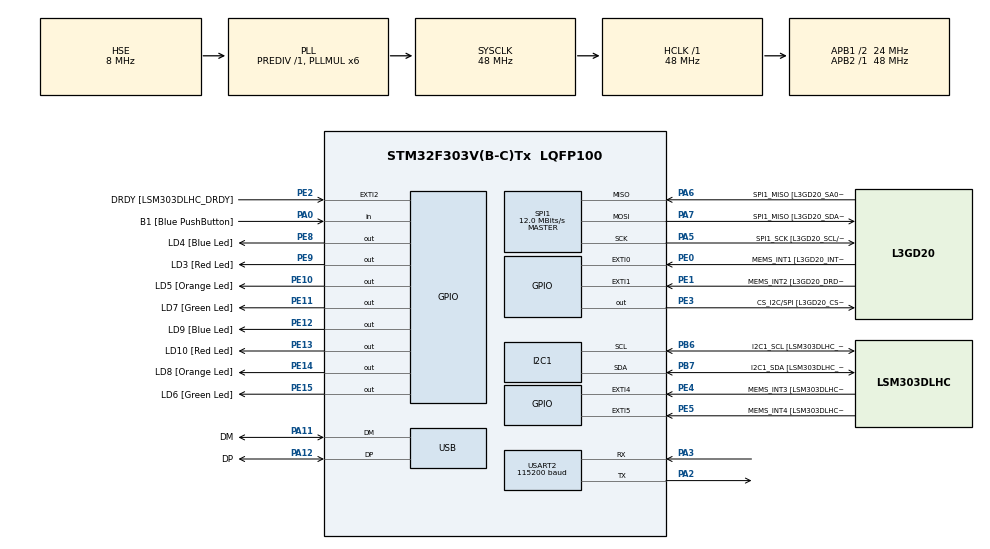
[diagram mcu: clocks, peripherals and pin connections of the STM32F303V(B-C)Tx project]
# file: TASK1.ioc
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I2C1.Timing=0x2000090E
I2C1.Timing-I2C=0x2000090E
Mcu.Family=STM32F3
Mcu.Name=STM32F303V(B-C)Tx
Mcu.Package=LQFP100
NVIC.PriorityGroup=NVIC_PRIORITYGROUP_0
PA0.GPIO_Label=B1 [Blue PushButton]
PA0.Signal=GPIO_Input
PA11.GPIO_Label=DM
PA11.Mode=Device
PA11.Signal=USB_DM
PA12.GPIO_Label=DP
PA12.Mode=Device
PA12.Signal=USB_DP
PA13.GPIO_Label=SWDIO
PA13.Mode=Serial_Wire
PA13.Signal=SYS_JTMS-SWDIO
PA14.GPIO_Label=SWCLK
PA14.Mode=Serial_Wire
PA14.Signal=SYS_JTCK-SWCLK
PA2.Mode=Asynchronous
PA2.Signal=USART2_TX
PA3.Mode=Asynchronous
PA3.Signal=USART2_RX
PA5.GPIO_Label=SPI1_SCK [L3GD20_SCL/SPC]
PA5.Mode=Full_Duplex_Master
PA5.Signal=SPI1_SCK
PA6.GPIO_Label=SPI1_MISO [L3GD20_SA0/SDO]
PA6.Mode=Full_Duplex_Master
PA6.Signal=SPI1_MISO
PA7.GPIO_Label=SPI1_MISO [L3GD20_SDA/SDI/SDO]
PA7.Mode=Full_Duplex_Master
PA7.Signal=SPI1_MOSI
PB3.GPIO_Label=SWO
PB3.Signal=SYS_JTDO-TRACESWO
PB6.GPIO_Label=I2C1_SCL [LSM303DLHC_SCL]
PB6.GPIO_Pu=GPIO_PULLUP
PB6.Mode=I2C
PB6.Signal=I2C1_SCL
PB7.GPIO_Label=I2C1_SDA [LSM303DLHC_SDA]
PB7.GPIO_Pu=GPIO_PULLUP
PB7.Mode=I2C
PB7.Signal=I2C1_SDA
PC14-OSC32_IN.GPIO_Label=OSC32_IN
PC14-OSC32_IN.Signal=RCC_OSC32_IN
PC15-OSC32_OUT.GPIO_Label=OSC32_OUT
PC15-OSC32_OUT.Signal=RCC_OSC32_OUT
PE0.GPIO_Label=MEMS_INT1 [L3GD20_INT1]
PE0.GPIO_ModeDefaultEXTI=GPIO_MODE_EVT_RISING
PE0.Signal=GPXTI0
PE1.GPIO_Label=MEMS_INT2 [L3GD20_DRDY/INT2]
PE1.GPIO_ModeDefaultEXTI=GPIO_MODE_EVT_RISING
PE1.Signal=GPXTI1
PE10.GPIO_Label=LD5 [Orange Led]
PE10.Signal=GPIO_Output
PE11.GPIO_Label=LD7 [Green Led]
PE11.Signal=GPIO_Output
PE12.GPIO_Label=LD9 [Blue Led]
PE12.Signal=GPIO_Output
PE13.GPIO_Label=LD10 [Red Led]
PE13.Signal=GPIO_Output
PE14.GPIO_Label=LD8 [Orange Led]
PE14.Signal=GPIO_Output
PE15.GPIO_Label=LD6 [Green Led]
PE15.Signal=GPIO_Output
PE2.GPIO_Label=DRDY [LSM303DLHC_DRDY]
PE2.GPIO_ModeDefaultEXTI=GPIO_MODE_EVT_RISING
PE2.Signal=GPXTI2
PE3.GPIO_Label=CS_I2C/SPI [L3GD20_CS_I2C/SPI]
PE3.Signal=GPIO_Output
PE4.GPIO_Label=MEMS_INT3 [LSM303DLHC_INT1]
PE4.GPIO_ModeDefaultEXTI=GPIO_MODE_EVT_RISING
PE4.Signal=GPXTI4
PE5.GPIO_Label=MEMS_INT4 [LSM303DLHC_INT2]
PE5.GPIO_ModeDefaultEXTI=GPIO_MODE_EVT_RISING
PE5.Signal=GPXTI5
PE8.GPIO_Label=LD4 [Blue Led]
PE8.Signal=GPIO_Output
PE9.GPIO_Label=LD3 [Red Led]
PE9.Signal=GPIO_Output
PF0-OSC_IN.GPIO_Label=OSC_IN
PF0-OSC_IN.Mode=HSE-External-Clock-Source
PF0-OSC_IN.Signal=RCC_OSC_IN
PF1-OSC_OUT.GPIO_Label=OSC_OUT
PF1-OSC_OUT.Signal=RCC_OSC_OUT
ProjectManager.HeapSize=0x200
ProjectManager.StackSize=0x400
ProjectManager.TargetToolchain=CMake
RCC.AHBFreq_Value=48000000
RCC.APB1CLKDivider=RCC_HCLK_DIV2
RCC.APB1Freq_Value=24000000
RCC.APB1TimFreq_Value=48000000
RCC.APB2Freq_Value=48000000
RCC.APB2TimFreq_Value=48000000
RCC.CortexFreq_Value=48000000
RCC.HCLKFreq_Value=48000000
RCC.HSE_VALUE=8000000
RCC.HSI_VALUE=8000000
RCC.LSE_VALUE=32768
RCC.PLLMUL=RCC_PLL_MUL6
RCC.SYSCLKFreq_VALUE=48000000
RCC.SYSCLKSourceVirtual=RCC_SYSCLKSOURCE_PLLCLK
RCC.USBFreq_Value=48000000
SPI1.BaudRatePrescaler=SPI_BAUDRATEPRESCALER_4
SPI1.BaudRatePrescaler-Full_Duplex_Master=SPI_BAUDRATEPRESCALER_2
SPI1.CLKPhase=SPI_PHASE_2EDGE
SPI1.CLKPolarity=SPI_POLARITY_HIGH
SPI1.CalculateBaudRate=12.0 MBits/s
SPI1.CalculateBaudRate-Full_Duplex_Master=24.0 MBits/s
SPI1.DataSize=SPI_DATASIZE_8BIT
SPI1.Direction=SPI_DIRECTION_2LINES
SPI1.Mode=SPI_MODE_MASTER
SPI1.Mode-Full_Duplex_Master=SPI_MODE_MASTER
SPI1.VirtualType=VM_MASTER
USART2.BaudRate=115200
USART2.VirtualMode-Asynchronous=VM_ASYNC
board=STM32F3DISCOVERY

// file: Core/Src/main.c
/* USER CODE BEGIN Header */
/**
  ******************************************************************************
  * @file           : main.c
  * @brief          : Main program body
  ******************************************************************************
  * @attention
  *
  * Copyright (c) 2025 STMicroelectronics.
  * All rights reserved.
  *
  * This software is licensed under terms that can be found in the LICENSE file
  * in the root directory of this software component.
  * If no LICENSE file comes with this software, it is provided AS-IS.
  *
  ******************************************************************************
  */
/* USER CODE END Header */
#include "main.h"
#include <stdio.h>
#include <string.h>
#include <stdarg.h>

I2C_HandleTypeDef hi2c1;

SPI_HandleTypeDef hspi1;

UART_HandleTypeDef huart2;

PCD_HandleTypeDef hpcd_USB_FS;

void SystemClock_Config(void);
static void MX_GPIO_Init(void);
static void MX_I2C1_Init(void);
static void MX_SPI1_Init(void);
static void MX_USART2_UART_Init(void);
static void MX_USB_PCD_Init(void);

/* USER CODE BEGIN 0 */

#define WHO_AM_I_REG   0x0F
#define CS_LOW()       HAL_GPIO_WritePin(GPIOE, GPIO_PIN_3, GPIO_PIN_RESET)
#define CS_HIGH()      HAL_GPIO_WritePin(GPIOE, GPIO_PIN_3, GPIO_PIN_SET)

uint8_t who_am_i = 0;
uint8_t cmd = 0x80 | WHO_AM_I_REG;  // Read command = 0x8F

void print(const char *fmt, ...)
{
  char buffer[128];
  va_list args;
  va_start(args, fmt);
  vsnprintf(buffer, sizeof(buffer), fmt, args);
  va_end(args);
  HAL_UART_Transmit(&huart2, (uint8_t *)buffer, strlen(buffer), HAL_MAX_DELAY);
}

void Read_WHO_AM_I(void)
{
    CS_LOW();
    HAL_SPI_Transmit(&hspi1, &cmd, 1, HAL_MAX_DELAY);
    HAL_SPI_Receive(&hspi1, &who_am_i, 1, HAL_MAX_DELAY);
    CS_HIGH();

    print("WHO_AM_I register value: 0x%02X\r\n", who_am_i);

    if (who_am_i == 0xD4)
        print("I3G4250D detected successfully!\r\n");
    else
        print("Communication error. Received: 0x%02X\r\n", who_am_i);
}
/* USER CODE END 0 */

int main(void)
{

  /* MCU Configuration--------------------------------------------------------*/

  /* Reset of all peripherals, Initializes the Flash interface and the Systick. */
  HAL_Init();

  /* Configure the system clock */
  SystemClock_Config();

  /* Initialize all configured peripherals */
  MX_GPIO_Init();
  MX_I2C1_Init();
  MX_SPI1_Init();
  MX_USART2_UART_Init();
  MX_USB_PCD_Init();

  /* Infinite loop */
  /* USER CODE BEGIN WHILE */
  print("Starting WHO_AM_I read...\r\n");

    while (1)
    {
        HAL_Delay(1000);
        Read_WHO_AM_I();
    }
  /* USER CODE END 3 */
}

void SystemClock_Config(void)
{
  RCC_OscInitTypeDef RCC_OscInitStruct = {0};
  RCC_ClkInitTypeDef RCC_ClkInitStruct = {0};
  RCC_PeriphCLKInitTypeDef PeriphClkInit = {0};

  /** Initializes the RCC Oscillators according to the specified parameters
  * in the RCC_OscInitTypeDef structure.
  */
  RCC_OscInitStruct.OscillatorType = RCC_OSCILLATORTYPE_HSI|RCC_OSCILLATORTYPE_HSE;
  RCC_OscInitStruct.HSEState = RCC_HSE_BYPASS;
  RCC_OscInitStruct.HSEPredivValue = RCC_HSE_PREDIV_DIV1;
  RCC_OscInitStruct.HSIState = RCC_HSI_ON;
  RCC_OscInitStruct.HSICalibrationValue = RCC_HSICALIBRATION_DEFAULT;
  RCC_OscInitStruct.PLL.PLLState = RCC_PLL_ON;
  RCC_OscInitStruct.PLL.PLLSource = RCC_PLLSOURCE_HSE;
  RCC_OscInitStruct.PLL.PLLMUL = RCC_PLL_MUL6;
  if (HAL_RCC_OscConfig(&RCC_OscInitStruct) != HAL_OK)
  {
    Error_Handler();
  }

  /** Initializes the CPU, AHB and APB buses clocks
  */
  RCC_ClkInitStruct.ClockType = RCC_CLOCKTYPE_HCLK|RCC_CLOCKTYPE_SYSCLK
                              |RCC_CLOCKTYPE_PCLK1|RCC_CLOCKTYPE_PCLK2;
  RCC_ClkInitStruct.SYSCLKSource = RCC_SYSCLKSOURCE_PLLCLK;
  RCC_ClkInitStruct.AHBCLKDivider = RCC_SYSCLK_DIV1;
  RCC_ClkInitStruct.APB1CLKDivider = RCC_HCLK_DIV2;
  RCC_ClkInitStruct.APB2CLKDivider = RCC_HCLK_DIV1;

  if (HAL_RCC_ClockConfig(&RCC_ClkInitStruct, FLASH_LATENCY_1) != HAL_OK)
  {
    Error_Handler();
  }
  PeriphClkInit.PeriphClockSelection = RCC_PERIPHCLK_USB|RCC_PERIPHCLK_USART2
                              |RCC_PERIPHCLK_I2C1;
  PeriphClkInit.Usart2ClockSelection = RCC_USART2CLKSOURCE_PCLK1;
  PeriphClkInit.I2c1ClockSelection = RCC_I2C1CLKSOURCE_HSI;
  PeriphClkInit.USBClockSelection = RCC_USBCLKSOURCE_PLL;
  if (HAL_RCCEx_PeriphCLKConfig(&PeriphClkInit) != HAL_OK)
  {
    Error_Handler();
  }
}

static void MX_I2C1_Init(void)
{

  hi2c1.Instance = I2C1;
  hi2c1.Init.Timing = 0x2000090E;
  hi2c1.Init.OwnAddress1 = 0;
  hi2c1.Init.AddressingMode = I2C_ADDRESSINGMODE_7BIT;
  hi2c1.Init.DualAddressMode = I2C_DUALADDRESS_DISABLE;
  hi2c1.Init.OwnAddress2 = 0;
  hi2c1.Init.OwnAddress2Masks = I2C_OA2_NOMASK;
  hi2c1.Init.GeneralCallMode = I2C_GENERALCALL_DISABLE;
  hi2c1.Init.NoStretchMode = I2C_NOSTRETCH_DISABLE;
  if (HAL_I2C_Init(&hi2c1) != HAL_OK)
  {
    Error_Handler();
  }

  /** Configure Analogue filter
  */
  if (HAL_I2CEx_ConfigAnalogFilter(&hi2c1, I2C_ANALOGFILTER_ENABLE) != HAL_OK)
  {
    Error_Handler();
  }

  /** Configure Digital filter
  */
  if (HAL_I2CEx_ConfigDigitalFilter(&hi2c1, 0) != HAL_OK)
  {
    Error_Handler();
  }

}

static void MX_SPI1_Init(void)
{

  /* SPI1 parameter configuration*/
  hspi1.Instance = SPI1;
  hspi1.Init.Mode = SPI_MODE_MASTER;
  hspi1.Init.Direction = SPI_DIRECTION_2LINES;
  hspi1.Init.DataSize = SPI_DATASIZE_8BIT;
  hspi1.Init.CLKPolarity = SPI_POLARITY_HIGH;
  hspi1.Init.CLKPhase = SPI_PHASE_2EDGE;
  hspi1.Init.NSS = SPI_NSS_SOFT;
  hspi1.Init.BaudRatePrescaler = SPI_BAUDRATEPRESCALER_4;
  hspi1.Init.FirstBit = SPI_FIRSTBIT_MSB;
  hspi1.Init.TIMode = SPI_TIMODE_DISABLE;
  hspi1.Init.CRCCalculation = SPI_CRCCALCULATION_DISABLE;
  hspi1.Init.CRCPolynomial = 7;
  hspi1.Init.CRCLength = SPI_CRC_LENGTH_DATASIZE;
  hspi1.Init.NSSPMode = SPI_NSS_PULSE_DISABLE;
  if (HAL_SPI_Init(&hspi1) != HAL_OK)
  {
    Error_Handler();
  }

}

static void MX_USART2_UART_Init(void)
{

  huart2.Instance = USART2;
  huart2.Init.BaudRate = 115200;
  huart2.Init.WordLength = UART_WORDLENGTH_8B;
  huart2.Init.StopBits = UART_STOPBITS_1;
  huart2.Init.Parity = UART_PARITY_NONE;
  huart2.Init.Mode = UART_MODE_TX_RX;
  huart2.Init.HwFlowCtl = UART_HWCONTROL_NONE;
  huart2.Init.OverSampling = UART_OVERSAMPLING_16;
  huart2.Init.OneBitSampling = UART_ONE_BIT_SAMPLE_DISABLE;
  huart2.AdvancedInit.AdvFeatureInit = UART_ADVFEATURE_NO_INIT;
  if (HAL_UART_Init(&huart2) != HAL_OK)
  {
    Error_Handler();
  }

}

static void MX_USB_PCD_Init(void)
{

  hpcd_USB_FS.Instance = USB;
  hpcd_USB_FS.Init.dev_endpoints = 8;
  hpcd_USB_FS.Init.speed = PCD_SPEED_FULL;
  hpcd_USB_FS.Init.phy_itface = PCD_PHY_EMBEDDED;
  hpcd_USB_FS.Init.low_power_enable = DISABLE;
  hpcd_USB_FS.Init.battery_charging_enable = DISABLE;
  if (HAL_PCD_Init(&hpcd_USB_FS) != HAL_OK)
  {
    Error_Handler();
  }

}

static void MX_GPIO_Init(void)
{
  GPIO_InitTypeDef GPIO_InitStruct = {0};

  /* GPIO Ports Clock Enable */
  __HAL_RCC_GPIOE_CLK_ENABLE();
  __HAL_RCC_GPIOC_CLK_ENABLE();
  __HAL_RCC_GPIOF_CLK_ENABLE();
  __HAL_RCC_GPIOA_CLK_ENABLE();
  __HAL_RCC_GPIOB_CLK_ENABLE();

  /*Configure GPIO pin Output Level */
  HAL_GPIO_WritePin(GPIOE, CS_I2C_SPI_Pin|LD4_Pin|LD3_Pin|LD5_Pin
                          |LD7_Pin|LD9_Pin|LD10_Pin|LD8_Pin
                          |LD6_Pin, GPIO_PIN_RESET);

  /*Configure GPIO pins : DRDY_Pin MEMS_INT3_Pin MEMS_INT4_Pin MEMS_INT1_Pin
                           MEMS_INT2_Pin */
  GPIO_InitStruct.Pin = DRDY_Pin|MEMS_INT3_Pin|MEMS_INT4_Pin|MEMS_INT1_Pin
                          |MEMS_INT2_Pin;
  GPIO_InitStruct.Mode = GPIO_MODE_EVT_RISING;
  GPIO_InitStruct.Pull = GPIO_NOPULL;
  HAL_GPIO_Init(GPIOE, &GPIO_InitStruct);

  /*Configure GPIO pins : CS_I2C_SPI_Pin LD4_Pin LD3_Pin LD5_Pin
                           LD7_Pin LD9_Pin LD10_Pin LD8_Pin
                           LD6_Pin */
  GPIO_InitStruct.Pin = CS_I2C_SPI_Pin|LD4_Pin|LD3_Pin|LD5_Pin
                          |LD7_Pin|LD9_Pin|LD10_Pin|LD8_Pin
                          |LD6_Pin;
  GPIO_InitStruct.Mode = GPIO_MODE_OUTPUT_PP;
  GPIO_InitStruct.Pull = GPIO_NOPULL;
  GPIO_InitStruct.Speed = GPIO_SPEED_FREQ_LOW;
  HAL_GPIO_Init(GPIOE, &GPIO_InitStruct);

  /*Configure GPIO pin : B1_Pin */
  GPIO_InitStruct.Pin = B1_Pin;
  GPIO_InitStruct.Mode = GPIO_MODE_INPUT;
  GPIO_InitStruct.Pull = GPIO_NOPULL;
  HAL_GPIO_Init(B1_GPIO_Port, &GPIO_InitStruct);

}

void Error_Handler(void)
{
  __disable_irq();
  while (1)
  {
  }
}
